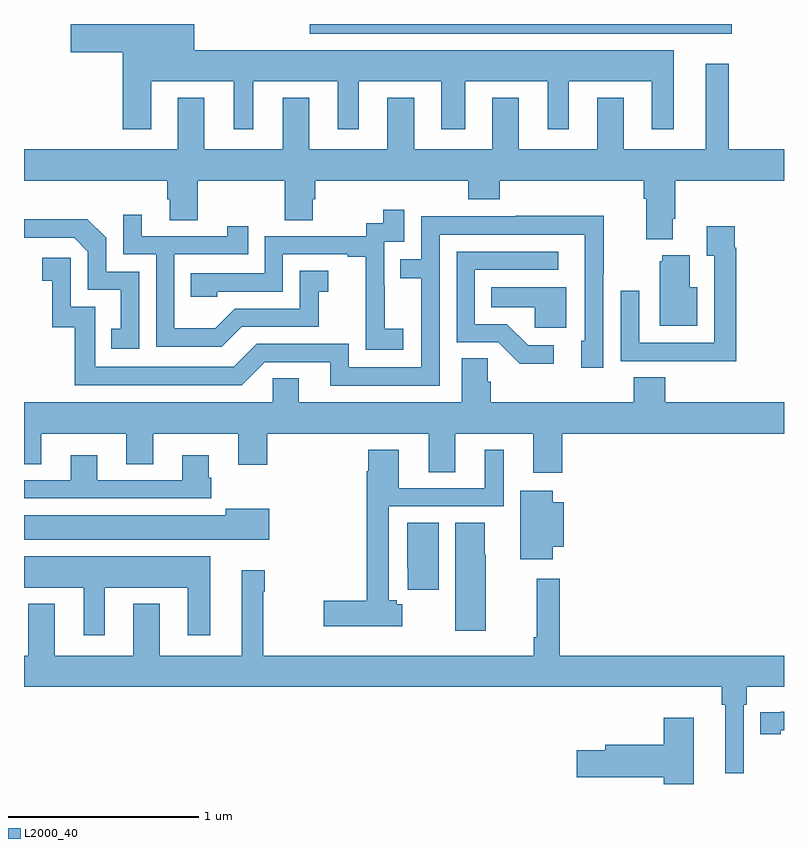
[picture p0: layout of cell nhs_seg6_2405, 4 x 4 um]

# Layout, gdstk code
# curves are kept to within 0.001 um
import gdstk
lib = gdstk.Library(unit=1e-6, precision=1e-09)
def R(c, l, rs):  # rectangles x0, y0, x1, y1
    for r in rs: c.add(gdstk.rectangle(r[:2], r[2:], *l))
def P(c, l, *ps):  # polygons
    for p in ps: c.add(gdstk.Polygon(p, *l))
L2000_40 = (2000, 40)

nhs_seg6_2405 = lib.new_cell('nhs_seg6_2405')
R(nhs_seg6_2405, L2000_40, [(256.503,941.45,258.724,941.5)])
P(nhs_seg6_2405, L2000_40, [(255.67,941.198),(256.103,941.198),(256.103,940.947),(256.207,940.947),(256.207,941.198),(256.652,941.198),(256.652,940.947),(256.762,940.947),(256.762,941.198),(257.195,941.198),(257.195,940.947),(257.323,940.947),(257.323,941.198),(257.756,941.198),(257.756,940.947),(257.866,940.947),(257.866,941.198),(258.305,941.198),(258.305,940.947),(258.421,940.947),(258.421,941.362),(255.895,941.362),(255.895,941.5),(255.533,941.5),(255.533,941.498),(255.246,941.498),(255.246,941.351),(255.521,941.351),(255.521,940.947),(255.67,940.947)],
  [(258.415,940.474),(258.428,940.474),(258.428,940.676),(259,940.676),(259,940.84),(258.709,940.84),(258.709,941.29),(258.587,941.29),(258.587,940.84),(258.157,940.84),(258.157,941.113),(258.017,941.113),(258.017,940.84),(257.605,940.84),(257.605,941.113),(257.465,941.113),(257.465,940.84),(257.053,940.84),(257.053,941.113),(256.913,941.113),(256.913,940.84),(256.501,940.84),(256.501,941.113),(256.361,941.113),(256.361,940.84),(255.949,940.84),(255.949,941.113),(255.809,941.113),(255.809,940.84),(255,940.84),(255,940.676),(255.755,940.676),(255.755,940.578),(255.767,940.578),(255.767,940.468),(255.915,940.468),(255.915,940.676),(256.372,940.676),(256.372,940.468),(256.519,940.468),(256.519,940.578),(256.532,940.578),(256.532,940.676),(257.339,940.676),(257.339,940.577),(257.504,940.577),(257.504,940.676),(258.263,940.676),(258.263,940.58),(258.275,940.58),(258.275,940.367),(258.415,940.367)],
  [(256.996,939.895),(256.898,939.895),(256.898,940.124),(256.896,940.124),(256.896,940.353),(257.001,940.353),(257.001,940.522),(256.892,940.522),(256.892,940.452),(256.8,940.452),(256.8,940.383),(256.266,940.383),(256.266,940.188),(255.877,940.188),(255.877,940.065),(256.017,940.065),(256.017,940.092),(256.362,940.092),(256.362,940.287),(256.703,940.287),(256.703,940.275),(256.799,940.275),(256.799,939.991),(256.798,939.991),(256.798,939.785),(256.996,939.785)],
  [(256.147,939.906),(256.551,939.906),(256.551,940.091),(256.6,940.091),(256.6,940.201),(256.452,940.201),(256.452,940.002),(256.11,940.002),(256.006,939.898),(255.792,939.898),(255.792,940.287),(256.181,940.287),(256.181,940.435),(256.07,940.435),(256.07,940.383),(255.619,940.383),(255.619,940.495),(255.522,940.495),(255.522,940.287),(255.696,940.287),(255.696,939.801),(256.042,939.801)],
  [(257.187,940.392),(257.951,940.392),(257.952,939.834),(257.933,939.834),(257.933,939.69),(258.048,939.69),(258.048,940.183),(258.051,940.183),(258.051,940.49),(257.587,940.49),(257.587,940.488),(257.091,940.488),(257.091,940.263),(256.981,940.263),(256.981,940.162),(257.091,940.162),(257.091,939.693),(256.71,939.693),(256.71,939.816),(256.224,939.816),(256.104,939.696),(255.375,939.696),(255.375,940.011),(255.246,940.011),(255.246,940.27),(255.096,940.27),(255.096,940.149),(255.149,940.149),(255.149,939.903),(255.267,939.903),(255.267,939.6),(256.146,939.6),(256.266,939.72),(256.613,939.72),(256.613,939.597),(257.187,939.597)],
  [(255.606,940.197),(255.432,940.197),(255.432,940.374),(255.334,940.472),(255,940.472),(255,940.374),(255.264,940.374),(255.336,940.302),(255.336,940.101),(255.509,940.101),(255.509,939.897),(255.46,939.897),(255.46,939.792),(255.606,939.792)],
  [(258.749,940.322),(258.742,940.322),(258.742,940.435),(258.593,940.435),(258.593,940.279),(258.633,940.279),(258.633,939.822),(258.237,939.822),(258.237,940.096),(258.141,940.096),(258.141,939.726),(258.457,939.726),(258.457,939.725),(258.749,939.725)],
  [(257.788,939.81),(257.653,939.81),(257.542,939.921),(257.373,939.921),(257.373,940.206),(257.812,940.206),(257.812,940.302),(257.277,940.302),(257.277,939.825),(257.496,939.825),(257.609,939.713),(257.788,939.713)],
  [(258.544,940.114),(258.505,940.114),(258.505,940.282),(258.359,940.282),(258.359,940.251),(258.347,940.251),(258.347,939.911),(258.544,939.911)],
  [(257.854,940.114),(257.458,940.114),(257.458,940.01),(257.689,940.01),(257.689,939.902),(257.854,939.902)],
  [(257.834,939.344),(259,939.344),(259,939.508),(258.374,939.508),(258.374,939.641),(258.209,939.641),(258.209,939.508),(257.456,939.508),(257.456,939.617),(257.442,939.617),(257.442,939.74),(257.303,939.74),(257.303,939.508),(256.447,939.508),(256.447,939.635),(256.308,939.635),(256.308,939.508),(255,939.508),(255,939.184),(255.091,939.184),(255.091,939.344),(255.539,939.344),(255.539,939.184),(255.679,939.184),(255.679,939.344),(256.127,939.344),(256.127,939.18),(256.279,939.18),(256.279,939.344),(257.129,939.344),(257.129,939.142),(257.269,939.142),(257.269,939.344),(257.681,939.344),(257.681,939.138),(257.834,939.138)],
  [(256.991,938.447),(256.962,938.447),(256.962,938.466),(256.92,938.466),(256.92,938.961),(257.524,938.961),(257.524,939.259),(257.426,939.259),(257.426,939.057),(256.972,939.057),(256.972,939.259),(256.811,939.259),(256.811,939.146),(256.804,939.146),(256.804,938.465),(256.578,938.465),(256.578,938.33),(256.991,938.33)],
  [(255.986,939.111),(255.973,939.111),(255.973,939.229),(255.833,939.229),(255.833,939.099),(255.385,939.099),(255.385,939.229),(255.245,939.229),(255.245,939.099),(255,939.099),(255,939.003),(255.986,939.003)],
  [(257.783,938.75),(257.842,938.75),(257.842,938.983),(257.783,938.983),(257.783,939.043),(257.612,939.043),(257.612,938.682),(257.783,938.682)],
  [(256.291,938.95),(256.061,938.95),(256.061,938.914),(255,938.914),(255,938.786),(256.291,938.786)],
  [(257.182,938.876),(257.018,938.876),(257.018,938.635),(257.02,938.635),(257.02,938.523),(257.182,938.523)],
  [(257.431,938.706),(257.425,938.706),(257.425,938.876),(257.27,938.876),(257.27,938.307),(257.431,938.307)],
  [(255.424,938.534),(255.863,938.534),(255.863,938.283),(255.979,938.283),(255.979,938.698),(255,938.698),(255,938.534),(255.314,938.534),(255.314,938.283),(255.424,938.283)],
  [(258.789,937.916),(258.803,937.916),(258.803,938.012),(259,938.012),(259,938.176),(257.819,938.176),(257.819,938.581),(257.698,938.581),(257.698,938.272),(257.683,938.272),(257.683,938.176),(256.259,938.176),(256.259,938.513),(256.267,938.513),(256.267,938.626),(256.145,938.626),(256.145,938.176),(255.715,938.176),(255.715,938.449),(255.575,938.449),(255.575,938.176),(255.163,938.176),(255.163,938.449),(255.023,938.449),(255.023,938.176),(255,938.176),(255,938.012),(258.673,938.012),(258.673,937.916),(258.692,937.916),(258.692,937.557),(258.789,937.557)],
  [(258.982,937.782),(259,937.782),(259,937.879),(258.982,937.879),(258.982,937.878),(258.874,937.878),(258.874,937.762),(258.982,937.762)],
  [(258.526,937.849),(258.368,937.849),(258.368,937.707),(258.059,937.707),(258.059,937.677),(257.91,937.677),(257.91,937.535),(258.368,937.535),(258.368,937.5),(258.526,937.5)])

lib.write_gds('nhs_seg6_2405.gds')
